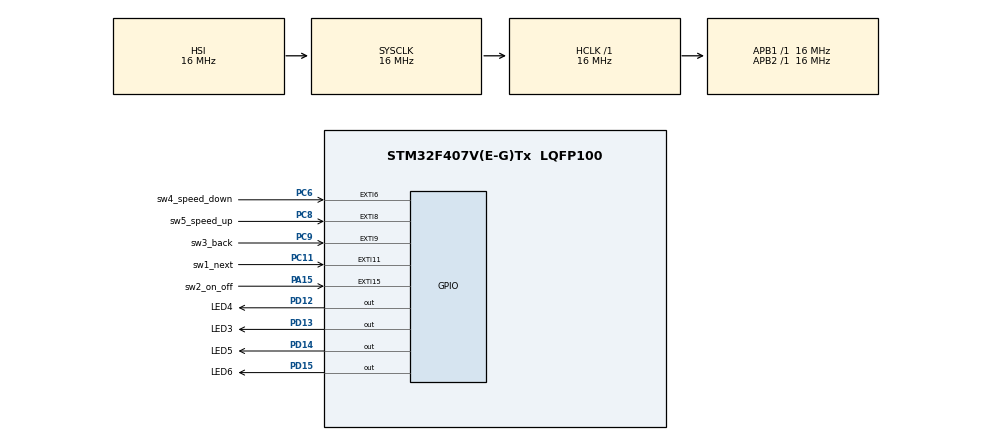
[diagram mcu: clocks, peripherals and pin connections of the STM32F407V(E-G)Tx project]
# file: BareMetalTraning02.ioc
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Mcu.Family=STM32F4
Mcu.Name=STM32F407V(E-G)Tx
Mcu.Package=LQFP100
NVIC.EXTI15_10_IRQn=true\:1\:0\:true\:false\:true\:true\:true\:true
NVIC.EXTI9_5_IRQn=true\:1\:0\:true\:false\:true\:true\:true\:true
NVIC.PriorityGroup=NVIC_PRIORITYGROUP_4
PA13.Mode=Serial_Wire
PA13.Signal=SYS_JTMS-SWDIO
PA14.Mode=Serial_Wire
PA14.Signal=SYS_JTCK-SWCLK
PA15.GPIO_Label=sw2_on_off
PA15.GPIO_ModeDefaultEXTI=GPIO_MODE_IT_FALLING
PA15.GPIO_PuPd=GPIO_PULLUP
PA15.Signal=GPXTI15
PC11.GPIO_Label=sw1_next
PC11.Signal=GPXTI11
PC14-OSC32_IN.Mode=LSE-External-Oscillator
PC14-OSC32_IN.Signal=RCC_OSC32_IN
PC15-OSC32_OUT.Mode=LSE-External-Oscillator
PC15-OSC32_OUT.Signal=RCC_OSC32_OUT
PC6.GPIO_Label=sw4_speed_down
PC6.GPIO_ModeDefaultEXTI=GPIO_MODE_IT_FALLING
PC6.GPIO_PuPd=GPIO_PULLUP
PC6.Signal=GPXTI6
PC8.GPIO_Label=sw5_speed_up
PC8.GPIO_ModeDefaultEXTI=GPIO_MODE_IT_FALLING
PC8.GPIO_PuPd=GPIO_PULLUP
PC8.Signal=GPXTI8
PC9.GPIO_Label=sw3_back
PC9.GPIO_ModeDefaultEXTI=GPIO_MODE_IT_FALLING
PC9.GPIO_PuPd=GPIO_PULLUP
PC9.Signal=GPXTI9
PD12.GPIO_Label=LED4
PD12.Signal=GPIO_Output
PD13.GPIO_Label=LED3
PD13.Signal=GPIO_Output
PD14.GPIO_Label=LED5
PD14.Signal=GPIO_Output
PD15.GPIO_Label=LED6
PD15.Signal=GPIO_Output
PH0-OSC_IN.Mode=HSE-External-Oscillator
PH0-OSC_IN.Signal=RCC_OSC_IN
PH1-OSC_OUT.Mode=HSE-External-Oscillator
PH1-OSC_OUT.Signal=RCC_OSC_OUT
ProjectManager.HeapSize=0x200
ProjectManager.StackSize=0x400
ProjectManager.TargetToolchain=STM32CubeIDE
RCC.48MHZClocksFreq_Value=24000000
RCC.AHBFreq_Value=16000000
RCC.APB1Freq_Value=16000000
RCC.APB1TimFreq_Value=16000000
RCC.APB2Freq_Value=16000000
RCC.APB2TimFreq_Value=16000000
RCC.CortexFreq_Value=16000000
RCC.HCLKFreq_Value=16000000
RCC.HSE_VALUE=8000000
RCC.HSI_VALUE=16000000
RCC.PLLP=RCC_PLLP_DIV8
RCC.PLLSourceVirtual=RCC_PLLSOURCE_HSE
RCC.SYSCLKFreq_VALUE=16000000
RCC.VCOOutputFreq_Value=96000000
board=custom

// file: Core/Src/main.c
/* USER CODE BEGIN Header */
/**
 ******************************************************************************
 * @file           : main.c
 * @brief          : Main program body
 ******************************************************************************
 * @attention
 *
 * Copyright (c) 2023 STMicroelectronics.
 * All rights reserved.
 *
 * This software is licensed under terms that can be found in the LICENSE file
 * in the root directory of this software component.
 * If no LICENSE file comes with this software, it is provided AS-IS.
 *
 ******************************************************************************
 */
/* USER CODE END Header */
#include "main.h"
#include "gpio.h"
#include <stdbool.h>

/* USER CODE BEGIN PV */
#define led_number 4
#define DEBOUNCE 50 // button debounce timing

const uint16_t led_num = led_number; // pcs of used LED;
uint32_t perioD = 100;				 // variable blink period
uint32_t impulS = 50;				 // turn on time
uint32_t sds;						 // startup led pin delay
uint32_t quantum = 1;				 // check every this time are state of the port needs to be changed
typedef struct LED
{
	uint32_t period;	  // blink period
	uint32_t impuls;	  // on time
	uint32_t start_delay; // startup delay
	uint16_t pin;		  // blink pin
	GPIO_TypeDef *port;	  // blink port
} led_t;

led_t LED[led_number];

uint32_t lastTick = 0; // tick counter

uint32_t last_time = 0;
uint32_t time = 0;
uint16_t BLINK_MODE = 1;
bool ON_OFF = false;
/* USER CODE END PV */

void SystemClock_Config(void);

/* USER CODE BEGIN 0 */
void HAL_GPIO_EXTI_Callback(uint16_t GPIO_Pin)
{
	/*interrupt button actions*/

	uint32_t time = HAL_GetTick();

	if (time - last_time > DEBOUNCE)
	{ // button debounce
		/*true press button*/
		switch (GPIO_Pin)
		{
		case sw1_next_Pin: // blink mode change
			if (BLINK_MODE >= 3)
			{
				BLINK_MODE = 1;
			}
			else
			{
				BLINK_MODE++;
			}
			break;

		case sw2_on_off_Pin: // off/on all led`s
			if (ON_OFF == true)
			{
				ON_OFF = false;
			}
			else
			{
				ON_OFF = true;
			}
			break;
		case sw3_back_Pin: // blink mode change
			if (BLINK_MODE > 1)
			{
				BLINK_MODE--;
			}
			else
			{
				BLINK_MODE = 3;
			}
			break;
		case sw4_speed_down_Pin:
			if (perioD >= 200)
			{
				perioD -= 100;
			}

			break;
		case sw5_speed_up_Pin:
			if (perioD < 800)
			{
				perioD += 100;
			}

			break;
		default:
			Error_Handler();
		}
		last_time = time;
	}

	/*setup blink parameter*/
	impulS = perioD / 2;

	switch (BLINK_MODE)
	{
	case 1:
		sds = perioD / 10;
		break;

	case 2:
		sds = perioD / 4;
		break;

	case 3:
		sds = perioD / 2;
		break;

	default:
		Error_Handler();
	}
	for (uint16_t i = 0; i < led_num; i++)
	{
		LED[i].period = perioD; // perioD;
		LED[i].impuls = impulS; // impulS;
		LED[i].port = GPIOD;
	}

	/*start_delay_step*/

	LED[0].start_delay = sds;
	LED[1].start_delay = sds * 2;
	LED[2].start_delay = sds * 3;
	LED[3].start_delay = sds * 4;
}
/* USER CODE END 0 */

int main(void)
{

	/* MCU Configuration--------------------------------------------------------*/

	/* Reset of all peripherals, Initializes the Flash interface and the Systick. */
	HAL_Init();

	/* Configure the system clock */
	SystemClock_Config();

	/* USER CODE BEGIN SysInit */
	LED[0].pin = GPIO_PIN_12;
	LED[1].pin = GPIO_PIN_13;
	LED[2].pin = GPIO_PIN_14;
	LED[3].pin = GPIO_PIN_15;
	/* USER CODE END SysInit */

	/* Initialize all configured peripherals */
	MX_GPIO_Init();

	/* Infinite loop */
	while (1)
	{

		if (HAL_GetTick() - lastTick >= quantum)
		{ // check status every (ms) quantum

			for (uint32_t j = 0; j < led_num; j++)
			{
				if (lastTick >= LED[j].start_delay) // check if start time come
				{
					if (ON_OFF == true)
					{
						if (((lastTick + LED[j].period - LED[j].start_delay) % LED[j].period) == 0) // if time turn on pin
						{
							HAL_GPIO_WritePin(LED[j].port, LED[j].pin, GPIO_PIN_SET);
						}
					}
					else
					{
						HAL_GPIO_WritePin(LED[j].port, LED[j].pin, GPIO_PIN_RESET);
					}
					if (((lastTick + LED[j].period - LED[j].start_delay - LED[j].impuls) % LED[j].period) == 0) // if time turn off pin
					{
						HAL_GPIO_WritePin(LED[j].port, LED[j].pin, GPIO_PIN_RESET);
					}
				}
			}
			lastTick = HAL_GetTick();
		}

	}
}
void SystemClock_Config(void)
{
	RCC_OscInitTypeDef RCC_OscInitStruct = {0};
	RCC_ClkInitTypeDef RCC_ClkInitStruct = {0};

	/** Configure the main internal regulator output voltage
	 */
	__HAL_RCC_PWR_CLK_ENABLE();
	__HAL_PWR_VOLTAGESCALING_CONFIG(PWR_REGULATOR_VOLTAGE_SCALE1);

	/** Initializes the RCC Oscillators according to the specified parameters
	 * in the RCC_OscInitTypeDef structure.
	 */
	RCC_OscInitStruct.OscillatorType = RCC_OSCILLATORTYPE_HSI;
	RCC_OscInitStruct.HSIState = RCC_HSI_ON;
	RCC_OscInitStruct.HSICalibrationValue = RCC_HSICALIBRATION_DEFAULT;
	RCC_OscInitStruct.PLL.PLLState = RCC_PLL_NONE;
	if (HAL_RCC_OscConfig(&RCC_OscInitStruct) != HAL_OK)
	{
		Error_Handler();
	}

	/** Initializes the CPU, AHB and APB buses clocks
	 */
	RCC_ClkInitStruct.ClockType = RCC_CLOCKTYPE_HCLK | RCC_CLOCKTYPE_SYSCLK | RCC_CLOCKTYPE_PCLK1 | RCC_CLOCKTYPE_PCLK2;
	RCC_ClkInitStruct.SYSCLKSource = RCC_SYSCLKSOURCE_HSI;
	RCC_ClkInitStruct.AHBCLKDivider = RCC_SYSCLK_DIV1;
	RCC_ClkInitStruct.APB1CLKDivider = RCC_HCLK_DIV1;
	RCC_ClkInitStruct.APB2CLKDivider = RCC_HCLK_DIV1;

	if (HAL_RCC_ClockConfig(&RCC_ClkInitStruct, FLASH_LATENCY_0) != HAL_OK)
	{
		Error_Handler();
	}
}

void Error_Handler(void)
{
	__disable_irq();
	while (1)
	{
	}
}
